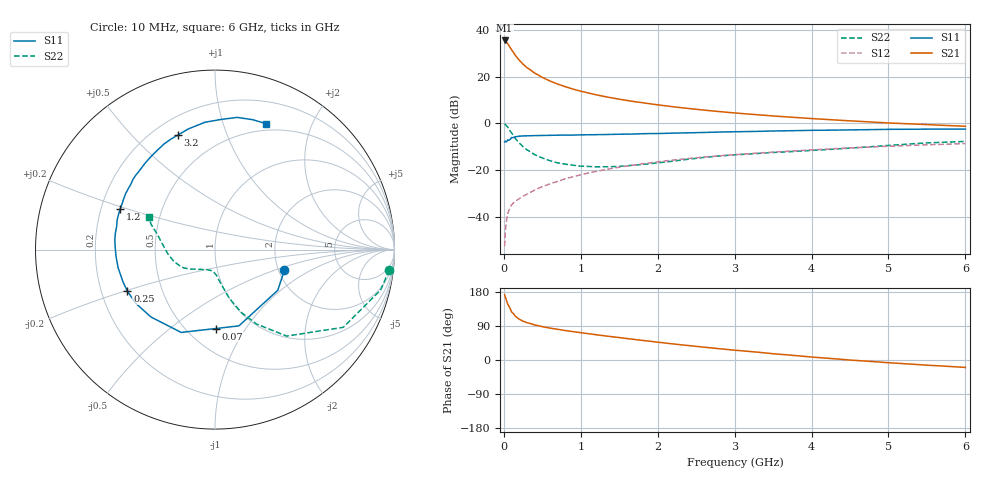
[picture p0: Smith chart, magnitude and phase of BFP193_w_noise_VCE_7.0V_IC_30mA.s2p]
! (c) 2017  Infineon Technologies AG, Munich
! Infineon Technologies  Discrete & RF Semiconductors
! BFP193
! VCE =  7.0 V,  IC =  30 mA
! Common Emitter S-Parameters:  Jan 2017
# GHz  S  MA  R  50
!  f  S11  S21  S12  S22
! GHz  MAG  ANG  MAG  ANG  MAG  ANG  MAG  ANG
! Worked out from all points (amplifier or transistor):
!   77 points, 10 MHz to 6 GHz, reference 50 ohm
!   highest |S21| = 35.4 dB at 10 MHz (marker M1)
!   |S21| within 3 dB of that: start of sweep to 81.33 MHz
!   unconditionally stable (mu >= 1): 766.7 MHz to 2.468 GHz
!   at 130 MHz: K = 0.47, MSG = 31.9 dB, |S12| = -33.8 dB
!   at 2.2 GHz: K = 1.01, MAG = 10.7 dB, |S12| = -15.7 dB
!   at 6 GHz: K = 0.91, MSG = 3.7 dB, |S12| = -8.6 dB
!   lowest NFmin = 1.22 dB at 450 MHz
!   S11 on the Smith chart (normalised r, x): 10 MHz: 2.15, -0.59; 70 MHz: 0.68, -0.74; 250 MHz: 0.31, -0.20; 1.2 GHz: 0.28, +0.19; 3.2 GHz: 0.30, +0.69; 6 GHz: 0.42, +1.40
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0.01  0.4035 -16.4  58.83 172.4  0.0024 84.4  0.9771 -6.7
0.02  0.4168 -32.9  58.39 165.6  0.0051 83.7  0.95 -13.7
0.05  0.4454 -72.6  50.41 147.3  0.0119 67.3  0.8356 -31.2
0.07  0.4397 -89.4  44.61 140.7  0.0144 63.3  0.7425 -37.5
0.1  0.4985 -112.2  37.44 127.2  0.0183 59.4  0.626 -50.3
0.15  0.5179 -133.5  28.21 115.3  0.022 55.1  0.4756 -60.8
0.2  0.5337 -146.0  22.33 107.8  0.0247 55.1  0.3823 -67.1
0.25  0.5403 -154.7  18.35 102.3  0.028 56.0  0.3192 -70.9
0.3  0.5434 -160.9  15.5 98.5  0.0308 56.8  0.2733 -74.1
0.4  0.5493 -169.5  11.87 92.5  0.0377 60.4  0.2161 -78.0
0.5  0.5529 -176.3  9.562 88.0  0.0447 61.6  0.1822 -81.3
0.7  0.5607 174.4  6.897 81.0  0.0579 64.6  0.1437 -86.6
0.9  0.563 166.7  5.383 74.8  0.0726 63.9  0.1281 -92.4
1.1  0.572 160.0  4.441 69.4  0.0877 63.4  0.1206 -98.6
1.2  0.5751 156.9  4.075 66.7  0.0944 62.5  0.1182 -101.7
1.6  0.5905 144.9  3.088 56.6  0.1233 59.4  0.1246 -116.0
2.1  0.6132 131.5  2.376 44.8  0.1578 54.2  0.1501 -133.1
3.1  0.6668 109.7  1.621 24.2  0.2209 42.4  0.2182 -156.4
3.2  0.6711 107.9  1.573 22.4  0.2267 41.3  0.223 -158.5
4.1  0.7136 93.1  1.24 6.3  0.2777 31.2  0.2704 -177.8
5.1  0.7474 79.2  1.005 -8.4  0.3297 19.9  0.3471 162.9
6  0.7572 68.0  0.869 -19.6  0.3711 10.0  0.4124 153.5
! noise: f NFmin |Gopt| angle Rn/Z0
0.45  1.22  0.33  -174  0.08
0.9  1.27  0.38  -173  0.07
1.9  1.89  0.57  -137  0.17
2.4  2.22  0.62  -121  0.38
